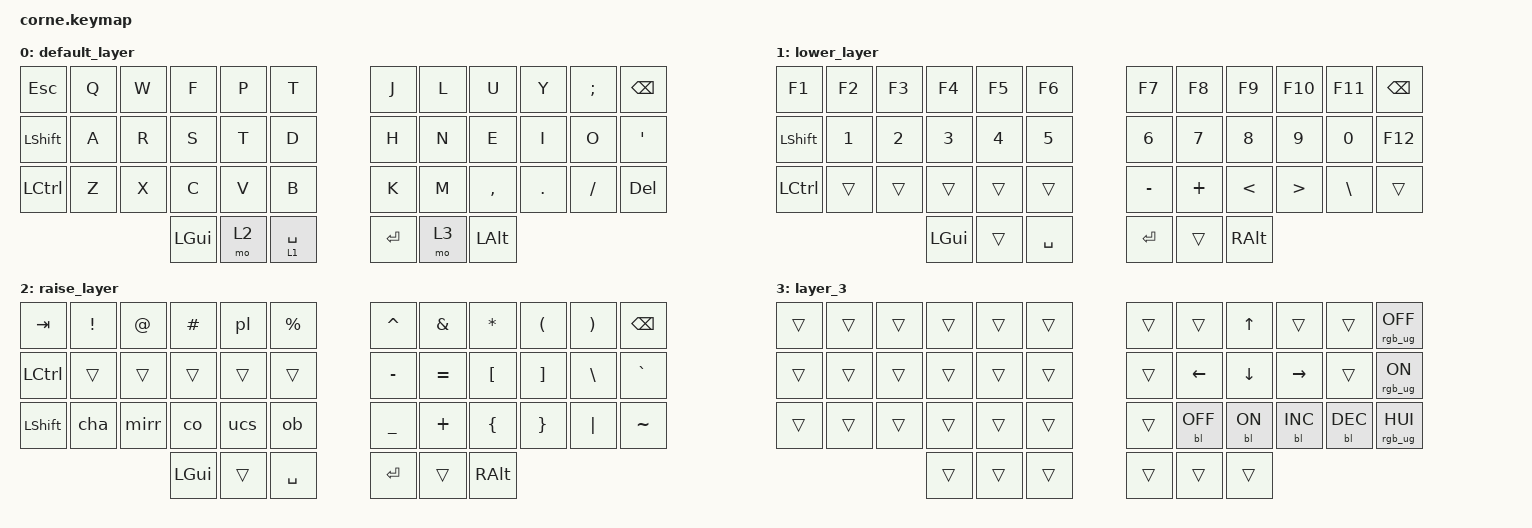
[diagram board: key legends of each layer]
/*
 * Copyright (c) 2020 The ZMK Contributors
 *
 * SPDX-License-Identifier: MIT
 */

#include <behaviors.dtsi>
#include <dt-bindings/zmk/backlight.h>
#include <dt-bindings/zmk/keys.h>
#include <dt-bindings/zmk/rgb.h>

/ {
    macros {
        pl: pl {
            compatible = "zmk,behavior-macro";
            #binding-cells = <0>;
            bindings = <&kp P &kp L &kp ENTER>;
            label = "PL";
        };

        mirr: mirr {
            compatible = "zmk,behavior-macro";
            #binding-cells = <0>;
            bindings = <&kp M &kp I &kp R &kp R &kp SPACE &kp RET>;
            label = "MIRR";
        };

        co: co {
            compatible = "zmk,behavior-macro";
            #binding-cells = <0>;
            bindings = <&kp C &kp O>;
            label = "CO";
        };

        cha: cha {
            compatible = "zmk,behavior-macro";
            #binding-cells = <0>;
            bindings = <&kp C &kp H &kp A>;
            label = "CHA";
        };

        ucs: ucs {
            compatible = "zmk,behavior-macro";
            #binding-cells = <0>;
            bindings = <&kp U &kp C &kp S &kp SPACE>;
            label = "UCS";
        };

        ob: ob {
            compatible = "zmk,behavior-macro";
            #binding-cells = <0>;
            bindings = <&kp O &kp B &kp SPACE>;
            label = "OB";
        };
    };

    keymap {
        compatible = "zmk,keymap";

        default_layer {
            // -----------------------------------------------------------------------------------------
            // |  TAB |  Q  |  W  |  E  |  R  |  T  |   |  Y  |  U   |  I  |  O  |  P  | BSPC |
            // | CTRL |  A  |  S  |  D  |  F  |  G  |   |  H  |  J   |  K  |  L  |  ;  |  '   |
            // | SHFT |  Z  |  X  |  C  |  V  |  B  |   |  N  |  M   |  ,  |  .  |  /  | ESC  |
            //                    | GUI | LWR | SPC |   | ENT | RSE  | ALT |

            bindings = <
&kp ESCAPE      &kp Q  &kp W  &kp F     &kp P  &kp T          &kp J    &kp L  &kp U         &kp Y    &kp SEMICOLON  &kp BSPC
&kp LEFT_SHIFT  &kp A  &kp R  &kp S     &kp T  &kp D          &kp H    &kp N  &kp E         &kp I    &kp O          &kp SQT
&kp LCTRL       &kp Z  &kp X  &kp C     &kp V  &kp B          &kp K    &kp M  &kp COMMA     &kp DOT  &kp FSLH       &kp DELETE
                              &kp LGUI  &mo 2  &lt 1 SPACE    &kp RET  &mo 3  &kp LEFT_ALT
            >;
        };

        lower_layer {
            // -----------------------------------------------------------------------------------------
            // |  TAB |  1  |  2  |  3  |  4  |  5  |   |  6  |  7  |  8  |  9  |  0  | BSPC |
            // | BTCLR| BT1 | BT2 | BT3 | BT4 | BT5 |   | LFT | DWN |  UP | RGT |     |      |
            // | SHFT |     |     |     |     |     |   |     |     |     |     |     |      |
            //                    | GUI |     | SPC |   | ENT |     | ALT |

            bindings = <
&kp F1     &kp F2        &kp F3        &kp F4        &kp F5        &kp F6       &kp F7        &kp F8    &kp F9         &kp F10           &kp F11        &kp BACKSPACE
&kp LSHFT  &kp NUMBER_1  &kp NUMBER_2  &kp NUMBER_3  &kp NUMBER_4  &kp N5       &kp NUMBER_6  &kp N7    &kp N8         &kp N9            &kp N0         &kp F12
&kp LCTRL  &trans        &trans        &trans        &trans        &trans       &kp MINUS     &kp PLUS  &kp LESS_THAN  &kp GREATER_THAN  &kp BACKSLASH  &trans
                                       &kp LGUI      &trans        &kp SPACE    &kp RET       &trans    &kp RALT
            >;
        };

        raise_layer {
            // -----------------------------------------------------------------------------------------
            // |  TAB |  !  |  @  |  #  |  $  |  %  |   |  ^  |  &  |  *  |  (  |  )  | BSPC |
            // | CTRL |     |     |     |     |     |   |  -  |  =  |  [  |  ]  |  \  |  `   |
            // | SHFT |     |     |     |     |     |   |  _  |  +  |  {  |  }  | "|" |  ~   |
            //                    | GUI |     | SPC |   | ENT |     | ALT |

            bindings = <
&kp TAB    &kp EXCL  &kp AT  &kp HASH  &pl     &kp PRCNT    &kp CARET  &kp AMPS   &kp ASTRK  &kp LPAR  &kp RPAR  &kp BSPC
&kp LCTRL  &trans    &trans  &trans    &trans  &trans       &kp MINUS  &kp EQUAL  &kp LBKT   &kp RBKT  &kp BSLH  &kp GRAVE
&kp LSHFT  &cha      &mirr   &co       &ucs    &ob          &kp UNDER  &kp PLUS   &kp LBRC   &kp RBRC  &kp PIPE  &kp TILDE
                             &kp LGUI  &trans  &kp SPACE    &kp RET    &trans     &kp RALT
            >;
        };

        layer_3 {
            bindings = <
&trans  &trans  &trans  &trans  &trans  &trans    &trans  &trans          &kp UP_ARROW  &trans           &trans      &rgb_ug RGB_OFF
&trans  &trans  &trans  &trans  &trans  &trans    &trans  &kp LEFT_ARROW  &kp DOWN      &kp RIGHT_ARROW  &trans      &rgb_ug RGB_ON
&trans  &trans  &trans  &trans  &trans  &trans    &trans  &bl BL_OFF      &bl BL_ON     &bl BL_INC       &bl BL_DEC  &rgb_ug RGB_HUI
                        &trans  &trans  &trans    &trans  &trans          &trans
            >;
        };
    };
};
